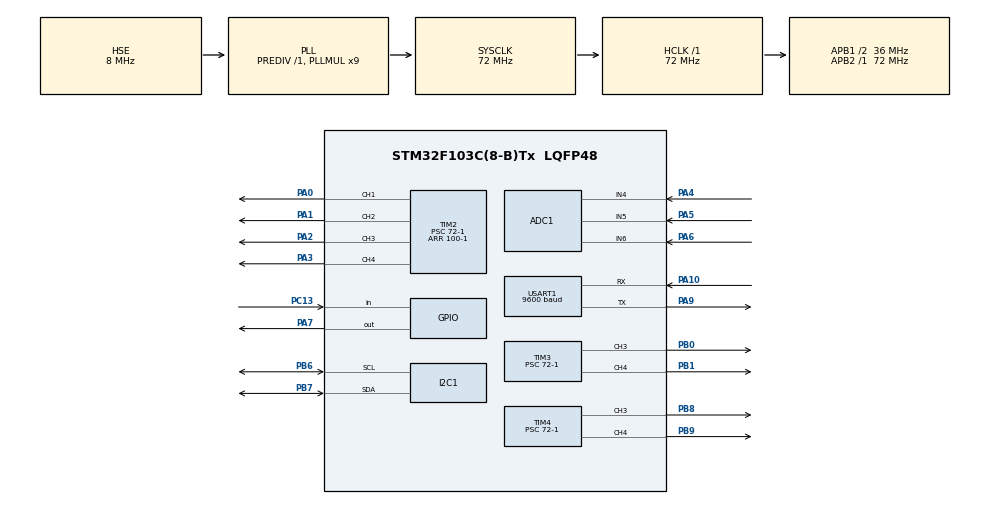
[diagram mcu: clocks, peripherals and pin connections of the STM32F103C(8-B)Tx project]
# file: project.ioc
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ADC1.Channel-0\#ChannelRegularConversion=ADC_CHANNEL_4
ADC1.Channel-1\#ChannelRegularConversion=ADC_CHANNEL_5
ADC1.Channel-2\#ChannelRegularConversion=ADC_CHANNEL_6
ADC1.ContinuousConvMode=ENABLE
ADC1.DataAlign=ADC_DATAALIGN_RIGHT
ADC1.NbrOfConversion=3
ADC1.NbrOfConversionFlag=1
ADC1.Rank-0\#ChannelRegularConversion=1
ADC1.Rank-1\#ChannelRegularConversion=2
ADC1.Rank-2\#ChannelRegularConversion=3
ADC1.SamplingTime-0\#ChannelRegularConversion=ADC_SAMPLETIME_1CYCLE_5
ADC1.SamplingTime-1\#ChannelRegularConversion=ADC_SAMPLETIME_1CYCLE_5
ADC1.SamplingTime-2\#ChannelRegularConversion=ADC_SAMPLETIME_1CYCLE_5
ADC1.master=1
Dma.ADC1.0.Direction=DMA_PERIPH_TO_MEMORY
Dma.ADC1.0.Instance=DMA1_Channel1
Dma.ADC1.0.MemDataAlignment=DMA_MDATAALIGN_HALFWORD
Dma.ADC1.0.MemInc=DMA_MINC_ENABLE
Dma.ADC1.0.Mode=DMA_CIRCULAR
Dma.ADC1.0.PeriphDataAlignment=DMA_PDATAALIGN_HALFWORD
Dma.ADC1.0.PeriphInc=DMA_PINC_DISABLE
Dma.ADC1.0.Priority=DMA_PRIORITY_LOW
Dma.Request0=ADC1
Mcu.Family=STM32F1
Mcu.Name=STM32F103C(8-B)Tx
Mcu.Package=LQFP48
NVIC.PriorityGroup=NVIC_PRIORITYGROUP_4
NVIC.TIM2_IRQn=true\:0\:0\:false\:false\:true\:true\:true\:true
NVIC.USART1_IRQn=true\:5\:0\:true\:false\:true\:true\:true\:true
PA0-WKUP.Signal=S_TIM2_CH1_ETR
PA1.Signal=S_TIM2_CH2
PA10.GPIO_PuPd=GPIO_PULLUP
PA10.Mode=Asynchronous
PA10.Signal=USART1_RX
PA13.Mode=Serial_Wire
PA13.Signal=SYS_JTMS-SWDIO
PA14.Mode=Serial_Wire
PA14.Signal=SYS_JTCK-SWCLK
PA2.Signal=S_TIM2_CH3
PA3.Signal=S_TIM2_CH4
PA4.Signal=ADCx_IN4
PA5.Signal=ADCx_IN5
PA6.Signal=ADCx_IN6
PA7.GPIO_PuPd=GPIO_PULLUP
PA7.GPIO_Speed=GPIO_SPEED_FREQ_HIGH
PA7.PinState=GPIO_PIN_SET
PA7.Signal=GPIO_Output
PA9.Mode=Asynchronous
PA9.Signal=USART1_TX
PB0.Signal=S_TIM3_CH3
PB1.Signal=S_TIM3_CH4
PB6.Mode=I2C
PB6.Signal=I2C1_SCL
PB7.Mode=I2C
PB7.Signal=I2C1_SDA
PB8.Signal=S_TIM4_CH3
PB9.Signal=S_TIM4_CH4
PC13-TAMPER-RTC.GPIO_PuPd=GPIO_PULLUP
PC13-TAMPER-RTC.Signal=GPIO_Input
PC14-OSC32_IN.Mode=LSE-External-Oscillator
PC14-OSC32_IN.Signal=RCC_OSC32_IN
PC15-OSC32_OUT.Mode=LSE-External-Oscillator
PC15-OSC32_OUT.Signal=RCC_OSC32_OUT
PD0-OSC_IN.Mode=HSE-External-Oscillator
PD0-OSC_IN.Signal=RCC_OSC_IN
PD1-OSC_OUT.Mode=HSE-External-Oscillator
PD1-OSC_OUT.Signal=RCC_OSC_OUT
ProjectManager.HeapSize=0x200
ProjectManager.StackSize=0x400
ProjectManager.TargetToolchain=MDK-ARM V5.32
RCC.ADCPresc=RCC_ADCPCLK2_DIV6
RCC.AHBFreq_Value=72000000
RCC.APB1CLKDivider=RCC_HCLK_DIV2
RCC.APB1Freq_Value=36000000
RCC.APB1TimFreq_Value=72000000
RCC.APB2Freq_Value=72000000
RCC.APB2TimFreq_Value=72000000
RCC.HCLKFreq_Value=72000000
RCC.PLLMUL=RCC_PLL_MUL9
RCC.PLLSourceVirtual=RCC_PLLSOURCE_HSE
RCC.SYSCLKFreq_VALUE=72000000
RCC.SYSCLKSource=RCC_SYSCLKSOURCE_PLLCLK
RCC.USBFreq_Value=72000000
SH.ADCx_IN4.0=ADC1_IN4,IN4
SH.ADCx_IN5.0=ADC1_IN5,IN5
SH.ADCx_IN6.0=ADC1_IN6,IN6
SH.S_TIM2_CH1_ETR.0=TIM2_CH1,PWM Generation1 CH1
SH.S_TIM2_CH2.0=TIM2_CH2,PWM Generation2 CH2
SH.S_TIM2_CH3.0=TIM2_CH3,PWM Generation3 CH3
SH.S_TIM2_CH4.0=TIM2_CH4,PWM Generation4 CH4
SH.S_TIM3_CH3.0=TIM3_CH3,PWM Generation3 CH3
SH.S_TIM3_CH4.0=TIM3_CH4,PWM Generation4 CH4
SH.S_TIM4_CH3.0=TIM4_CH3,PWM Generation3 CH3
SH.S_TIM4_CH4.0=TIM4_CH4,PWM Generation4 CH4
TIM2.AutoReloadPreload=TIM_AUTORELOAD_PRELOAD_ENABLE
TIM2.Channel-PWM\ Generation1\ CH1=TIM_CHANNEL_1
TIM2.Channel-PWM\ Generation2\ CH2=TIM_CHANNEL_2
TIM2.Channel-PWM\ Generation3\ CH3=TIM_CHANNEL_3
TIM2.Channel-PWM\ Generation4\ CH4=TIM_CHANNEL_4
TIM2.Period=100-1
TIM2.Prescaler=72-1
TIM3.Channel-PWM\ Generation3\ CH3=TIM_CHANNEL_3
TIM3.Channel-PWM\ Generation4\ CH4=TIM_CHANNEL_4
TIM3.Period=100-1
TIM3.Prescaler=72-1
TIM4.Channel-PWM\ Generation3\ CH3=TIM_CHANNEL_3
TIM4.Channel-PWM\ Generation4\ CH4=TIM_CHANNEL_4
TIM4.Period=100-1
TIM4.Prescaler=72-1
USART1.BaudRate=9600
USART1.VirtualMode=VM_ASYNC
VP_TIM2_VS_ClockSourceINT.Mode=Internal
VP_TIM3_VS_ClockSourceINT.Mode=Internal
VP_TIM4_VS_ClockSourceINT.Mode=Internal
board=custom

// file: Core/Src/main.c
/* USER CODE BEGIN Header */
/**
  ******************************************************************************
  * @file           : main.c
  * @brief          : Main program body
  ******************************************************************************
  * @attention
  *
  * Copyright (c) 2024 STMicroelectronics.
  * All rights reserved.
  *
  * This software is licensed under terms that can be found in the LICENSE file
  * in the root directory of this software component.
  * If no LICENSE file comes with this software, it is provided AS-IS.
  *
  ******************************************************************************
  */
/* USER CODE END Header */
#include "main.h"
#include "adc.h"
#include "dma.h"
#include "i2c.h"
#include "tim.h"
#include "usart.h"
#include "gpio.h"

/* USER CODE BEGIN Includes */
#include "motor.h"
#include "Delay.h"
#include "OLED.h"
#include "Key.h"
#include "LED.h"
#include "xunji.h"
#include <stdio.h>
#include <string.h>
/* USER CODE END Includes */

/* USER CODE BEGIN PTD */
uint8_t data;//串口收发数据
uint8_t setXunji = 0;//循迹模式标志位
/* USER CODE END PTD */

void SystemClock_Config(void);

/* USER CODE BEGIN 0 */

void run(uint8_t num){//串口接收字符后执行相应操作
	 	switch(num){
		case'w':
			qianjin();
			OLED_ShowString(1,1,"                ");
			OLED_ShowString(1,1,"go");
			break;
		case's':
			shanshuoLED(LED7_GPIO,LED7_PIN);
			houtui();
		  OLED_ShowString(1,1,"                ");
			OLED_ShowString(1,1,"back");
			break;
		case'a':
			zuoqian();
			OLED_ShowString(1,1,"                ");
			OLED_ShowString(1,1,"left");
			break;
		case'd':
			youqian();
			OLED_ShowString(1,1,"                ");
			OLED_ShowString(1,1,"right");
			break;
		case't':
			tingche();
			OLED_ShowString(1,1,"                ");
			OLED_ShowString(1,1,"stop");
			break;
		case'x':
			setXunji = !setXunji;
			OLED_ShowString(1,1,"                ");
			OLED_ShowString(1,1,"xunji");
			break;
		default:
			tingche();
			OLED_ShowString(1,1,"                ");
			OLED_ShowString(1,1,"stop");
		break;
	}

}

void HAL_TIM_PeriodElapsedCallback(TIM_HandleTypeDef *htim){
	Key_Tick();
	xunji_Tick();
}

uint8_t rx_buf[1];          // 1 字节缓冲
void HAL_UART_RxCpltCallback(UART_HandleTypeDef *huart)
{
    if(huart->Instance == USART1)
    {
      run(rx_buf[0]);                 // 直接解析
      HAL_UART_Receive_IT(&huart1, rx_buf, 1); // 重新挂接收
    }
}
/* USER CODE END 0 */

int main(void)
{

  /* MCU Configuration--------------------------------------------------------*/

  /* Reset of all peripherals, Initializes the Flash interface and the Systick. */
  HAL_Init();

  /* Configure the system clock */
  SystemClock_Config();

  /* Initialize all configured peripherals */
  MX_GPIO_Init();
  MX_DMA_Init();
  MX_TIM2_Init();
  MX_USART1_UART_Init();
  MX_TIM3_Init();
  MX_TIM4_Init();
  MX_ADC1_Init();
  MX_I2C1_Init();
  /* USER CODE BEGIN 2 */
	HAL_TIM_Base_Start_IT(&htim2);

	motor_Init();
	OLED_Init();

	onLED(LED7_GPIO,LED7_PIN);

	HAL_ADCEx_Calibration_Start(&hadc1);//校准adc
	HAL_ADC_Start_DMA(&hadc1,(uint32_t*)AD_Value,3);

	OLED_ShowString(1,1,"Ciallo!");
	OLED_ShowString(2,1,"zuo:");
	OLED_ShowString(3,1,"zhong:");
	OLED_ShowString(4,1,"you:");

	HAL_UART_Receive_IT(&huart1, rx_buf, 1);
  /* USER CODE END 2 */

  /* Infinite loop */
  /* USER CODE BEGIN WHILE */
  while (1)
  {
		//循迹模式
		if(setXunji){
			xunji();
		}

		//按下按键中
		//if(Key_checkFlag(KEY_HOLD)){
		//
		//}

		/*按键按下*/
		if(Key_checkFlag(KEY_DOWN)){
			OLED_ShowString(1,1,"                ");
			OLED_ShowString(1,1,"LOADING~~");
		}

		/*按键抬起*/
		if(Key_checkFlag(KEY_UP)){

		}

		if(Key_checkFlag(KEY_SINGLE)){//单击状态相应
			for(int i = 0 ; i < 3 ; i ++){
				onLED(LED7_GPIO,LED7_PIN);
				Delay_ms(100);
				offLED(LED7_GPIO,LED7_PIN);
				Delay_ms(100);
			}
			tingche();
			OLED_ShowString(1,1,"                ");
			OLED_ShowString(1,1,"TEST FINISHED");
		}

		if(Key_checkFlag(KEY_DOUBLE)){//双击状态相应
			houtui();
			OLED_ShowString(1,1,"                ");
			OLED_ShowString(1,1,"BACK TEST");
		}

		if(Key_checkFlag(KEY_LONG)){//长按状态相应
			qianjin();
			OLED_ShowString(1,1,"                ");
			OLED_ShowString(1,1,"GO TEST");
		}

		//dma搬运adc数据
		huidu1 = AD_Value[0];
		huidu2 = AD_Value[1];
		huidu3 = AD_Value[2];

		OLED_ShowNum(2,8,huidu1,4);
		OLED_ShowNum(3,8,huidu2,4);
		OLED_ShowNum(4,8,huidu3,4);

    /* USER CODE END WHILE */

  }
}

void SystemClock_Config(void)
{
  RCC_OscInitTypeDef RCC_OscInitStruct = {0};
  RCC_ClkInitTypeDef RCC_ClkInitStruct = {0};
  RCC_PeriphCLKInitTypeDef PeriphClkInit = {0};

  /** Initializes the RCC Oscillators according to the specified parameters
  * in the RCC_OscInitTypeDef structure.
  */
  RCC_OscInitStruct.OscillatorType = RCC_OSCILLATORTYPE_HSE;
  RCC_OscInitStruct.HSEState = RCC_HSE_ON;
  RCC_OscInitStruct.HSEPredivValue = RCC_HSE_PREDIV_DIV1;
  RCC_OscInitStruct.HSIState = RCC_HSI_ON;
  RCC_OscInitStruct.PLL.PLLState = RCC_PLL_ON;
  RCC_OscInitStruct.PLL.PLLSource = RCC_PLLSOURCE_HSE;
  RCC_OscInitStruct.PLL.PLLMUL = RCC_PLL_MUL9;
  if (HAL_RCC_OscConfig(&RCC_OscInitStruct) != HAL_OK)
  {
    Error_Handler();
  }

  /** Initializes the CPU, AHB and APB buses clocks
  */
  RCC_ClkInitStruct.ClockType = RCC_CLOCKTYPE_HCLK|RCC_CLOCKTYPE_SYSCLK
                              |RCC_CLOCKTYPE_PCLK1|RCC_CLOCKTYPE_PCLK2;
  RCC_ClkInitStruct.SYSCLKSource = RCC_SYSCLKSOURCE_PLLCLK;
  RCC_ClkInitStruct.AHBCLKDivider = RCC_SYSCLK_DIV1;
  RCC_ClkInitStruct.APB1CLKDivider = RCC_HCLK_DIV2;
  RCC_ClkInitStruct.APB2CLKDivider = RCC_HCLK_DIV1;

  if (HAL_RCC_ClockConfig(&RCC_ClkInitStruct, FLASH_LATENCY_2) != HAL_OK)
  {
    Error_Handler();
  }
  PeriphClkInit.PeriphClockSelection = RCC_PERIPHCLK_ADC;
  PeriphClkInit.AdcClockSelection = RCC_ADCPCLK2_DIV6;
  if (HAL_RCCEx_PeriphCLKConfig(&PeriphClkInit) != HAL_OK)
  {
    Error_Handler();
  }
}

void Error_Handler(void)
{
  __disable_irq();
  while (1)
  {
  }
}
